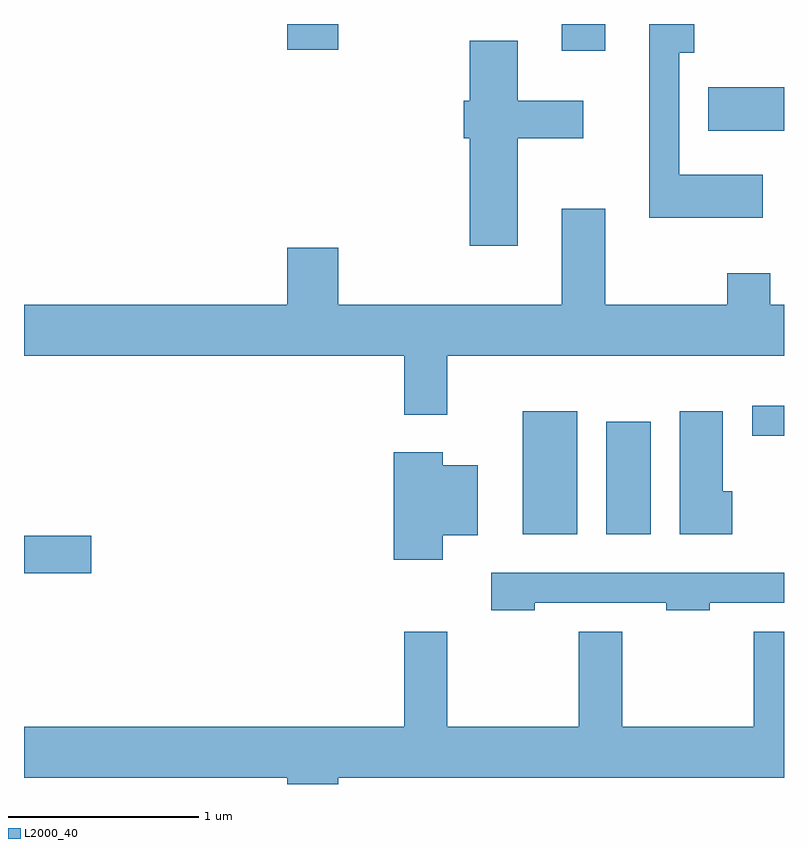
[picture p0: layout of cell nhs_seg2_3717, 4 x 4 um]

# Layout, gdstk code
import gdstk
lib = gdstk.Library(unit=1e-6, precision=1e-09)
def R(c, l, rs):  # rectangles x0, y0, x1, y1
    for r in rs: c.add(gdstk.rectangle(r[:2], r[2:], *l))
def P(c, l, *ps):  # polygons
    for p in ps: c.add(gdstk.Polygon(p, *l))
L2000_40 = (2000, 40)

nhs_seg2_3717 = lib.new_cell('nhs_seg2_3717')
R(nhs_seg2_3717, L2000_40, [(293.611,1084.911,293.964,1085.109), (296.236,1085.116,296.524,1085.764), (296.676,1085.116,296.909,1085.709), (297.443,1085.636,297.611,1085.794), (297.211,1087.241,297.611,1087.469), (296.441,1087.661,296.669,1087.802), (294.996,1087.666,295.264,1087.802)])
P(nhs_seg2_3717, L2000_40, [(297.499,1087.009),(297.059,1087.009),(297.059,1087.651),(297.138,1087.651),(297.138,1087.802),(296.901,1087.802),(296.901,1086.781),(297.499,1086.781)],
  [(296.209,1087.201),(296.554,1087.201),(296.554,1087.399),(296.209,1087.399),(296.209,1087.714),(295.956,1087.714),(295.956,1087.399),(295.926,1087.399),(295.926,1087.201),(295.956,1087.201),(295.956,1086.636),(296.209,1086.636)],
  [(295.839,1086.056),(297.611,1086.056),(297.611,1086.324),(297.539,1086.324),(297.539,1086.489),(297.311,1086.489),(297.311,1086.324),(296.669,1086.324),(296.669,1086.829),(296.441,1086.829),(296.441,1086.324),(295.264,1086.324),(295.264,1086.624),(294.996,1086.624),(294.996,1086.324),(293.611,1086.324),(293.611,1086.056),(295.611,1086.056),(295.611,1085.746),(295.839,1085.746)],
  [(297.339,1085.344),(297.289,1085.344),(297.289,1085.764),(297.061,1085.764),(297.061,1085.116),(297.339,1085.116)],
  [(295.814,1085.111),(295.999,1085.111),(295.999,1085.479),(295.814,1085.479),(295.814,1085.549),(295.556,1085.549),(295.556,1084.981),(295.814,1084.981)],
  [(296.299,1084.756),(296.991,1084.756),(296.991,1084.716),(297.219,1084.716),(297.219,1084.756),(297.611,1084.756),(297.611,1084.914),(296.071,1084.914),(296.071,1084.716),(296.299,1084.716)],
  [(295.264,1083.836),(297.611,1083.836),(297.611,1084.604),(297.451,1084.604),(297.451,1084.104),(296.759,1084.104),(296.759,1084.604),(296.531,1084.604),(296.531,1084.104),(295.839,1084.104),(295.839,1084.604),(295.611,1084.604),(295.611,1084.104),(293.611,1084.104),(293.611,1083.836),(294.996,1083.836),(294.996,1083.802),(295.264,1083.802)])

lib.write_gds('nhs_seg2_3717.gds')
